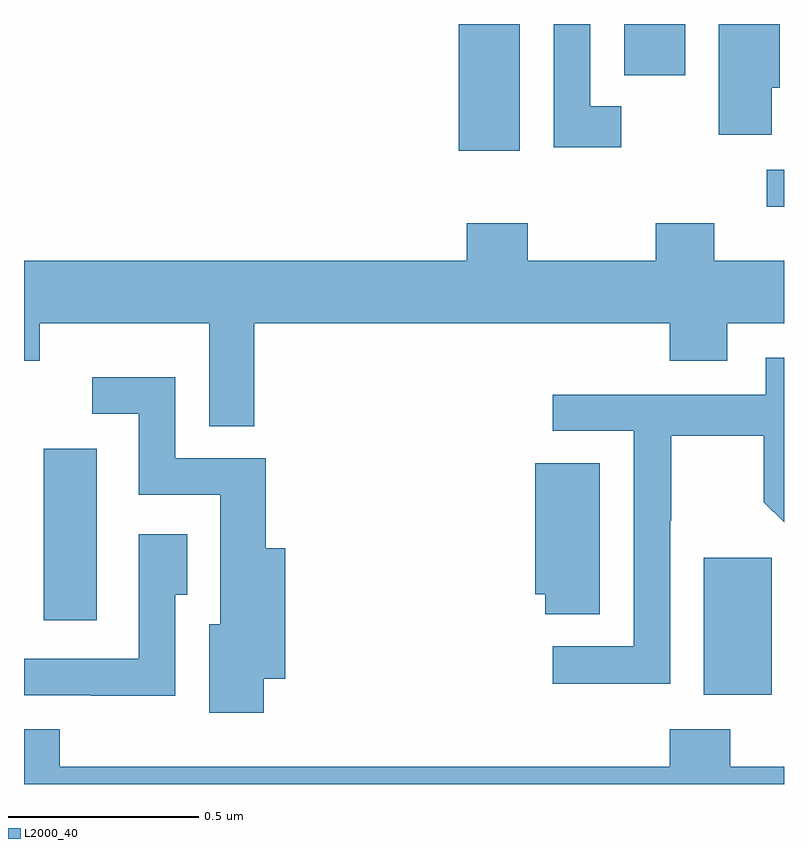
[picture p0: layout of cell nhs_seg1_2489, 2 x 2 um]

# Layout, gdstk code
import gdstk
lib = gdstk.Library(unit=1e-6, precision=1e-09)
def R(c, l, rs):  # rectangles x0, y0, x1, y1
    for r in rs: c.add(gdstk.rectangle(r[:2], r[2:], *l))
def P(c, l, *ps):  # polygons
    for p in ps: c.add(gdstk.Polygon(p, *l))
L2000_40 = (2000, 40)

nhs_seg1_2489 = lib.new_cell('nhs_seg1_2489')
R(nhs_seg1_2489, L2000_40, [(143.789,537.434,143.968,537.795), (142.052,537.63,142.192,538.081), (143.955,538.718,144,538.815), (143.144,538.866,143.305,539.199), (143.579,539.064,143.74,539.199)])
P(nhs_seg1_2489, L2000_40, [(143.968,539.031),(143.989,539.031),(143.989,539.199),(143.828,539.199),(143.828,538.908),(143.968,538.908)],
  [(143.572,538.983),(143.49,538.983),(143.49,539.199),(143.394,539.199),(143.394,538.875),(143.572,538.875)],
  [(142.606,538.412),(143.699,538.412),(143.699,538.313),(143.851,538.313),(143.851,538.412),(144,538.412),(144,538.576),(143.817,538.576),(143.817,538.675),(143.662,538.675),(143.662,538.576),(143.325,538.576),(143.325,538.675),(143.165,538.675),(143.165,538.576),(142,538.576),(142,538.313),(142.041,538.313),(142.041,538.412),(142.487,538.412),(142.487,538.141),(142.606,538.141)],
  [(143.7,537.892),(143.703,537.892),(143.703,538.116),(143.947,538.116),(143.947,537.941),(144,537.888),(144,538.321),(143.952,538.321),(143.952,538.224),(143.391,538.224),(143.391,538.128),(143.604,538.128),(143.604,537.561),(143.391,537.561),(143.391,537.463),(143.7,537.463)],
  [(142.631,537.476),(142.688,537.476),(142.688,537.82),(142.636,537.82),(142.636,538.056),(142.398,538.056),(142.398,538.27),(142.179,538.27),(142.179,538.173),(142.302,538.173),(142.302,537.96),(142.517,537.96),(142.517,537.619),(142.487,537.619),(142.487,537.387),(142.631,537.387)],
  [(143.515,538.043),(143.345,538.043),(143.345,537.699),(143.372,537.699),(143.372,537.646),(143.515,537.646)],
  [(142.398,537.697),(142.429,537.697),(142.429,537.856),(142.302,537.856),(142.302,537.528),(142,537.528),(142,537.432),(142.177,537.432),(142.177,537.431),(142.398,537.431)],
  [(144,537.244),(143.859,537.244),(143.859,537.343),(143.699,537.343),(143.699,537.244),(142.094,537.244),(142.094,537.343),(142,537.343),(142,537.199),(144,537.199)])

lib.write_gds('nhs_seg1_2489.gds')
